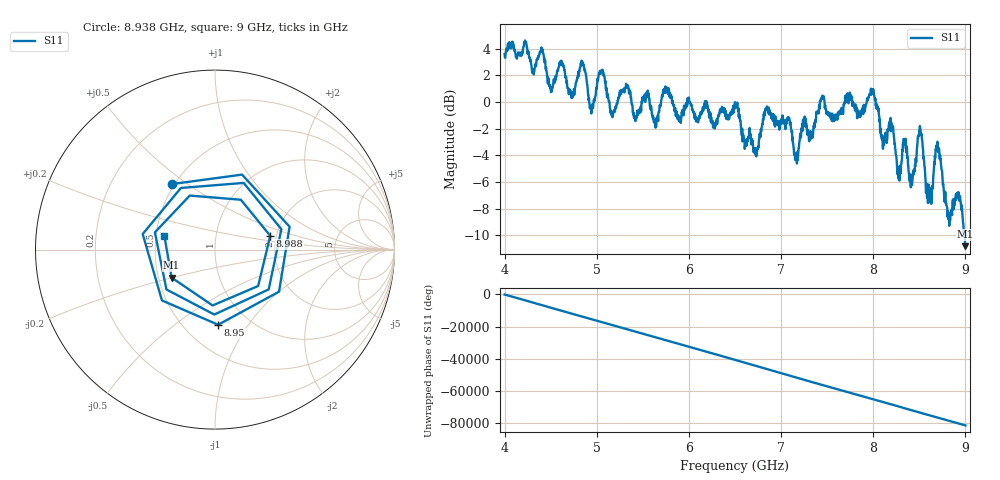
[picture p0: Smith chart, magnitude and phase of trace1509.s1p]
! Created with skrf 1.8.0 (http://scikit-rf.org).
# Hz S RI R 50.0
!freq ReS11 ImS11
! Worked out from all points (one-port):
!   1601 points, 4 GHz to 9 GHz, reference 50 ohm
!   lowest |S11| = -10.8 dB at 8.997 GHz (marker M1), VSWR 1.81, Z = 29.3 - j9.96 ohm
!   |S11| at or under -10 dB: 8.983472 GHz to 8.987058 GHz (3.586 MHz wide, 0.0399 % of centre); 8.989124 GHz to end of sweep
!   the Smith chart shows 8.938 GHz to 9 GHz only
!   S11 on the Smith chart (normalised r, x): 8.938 GHz: 0.48, +0.44; 8.95 GHz: 0.72, -0.73; 8.988 GHz: 1.85, +0.32; 9 GHz: 0.55, +0.09
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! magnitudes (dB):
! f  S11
! 4 GHz  3.6
! 4.506 GHz  0.8
! 4.625 GHz  2.9
! 4.722 GHz  0.6
! 4.85 GHz  2.8
! 4.938 GHz  -0.5
! 5.047 GHz  2.1
! 5.166 GHz  -1.0
! 5.25 GHz  0.8
! 5.875 GHz  -1.1
! 6.5 GHz  0.0
! 6.722 GHz  -3.8
! 6.844 GHz  -0.5
! 7.125 GHz  -2.7
! 7.75 GHz  0.4
! 7.991 GHz  0.9
! 8.106 GHz  -3.5
! 8.375 GHz  -4.2
! 8.425 GHz  -5.8
! 8.509 GHz  -1.9
! 8.606 GHz  -6.7
! 8.7 GHz  -3.2
! 8.812 GHz  -8.2
! 8.938 GHz  -7.2
! 8.95 GHz  -7.6
! 8.988 GHz  -10.0
! 8.997 GHz  -10.8
! 9 GHz  -10.7
